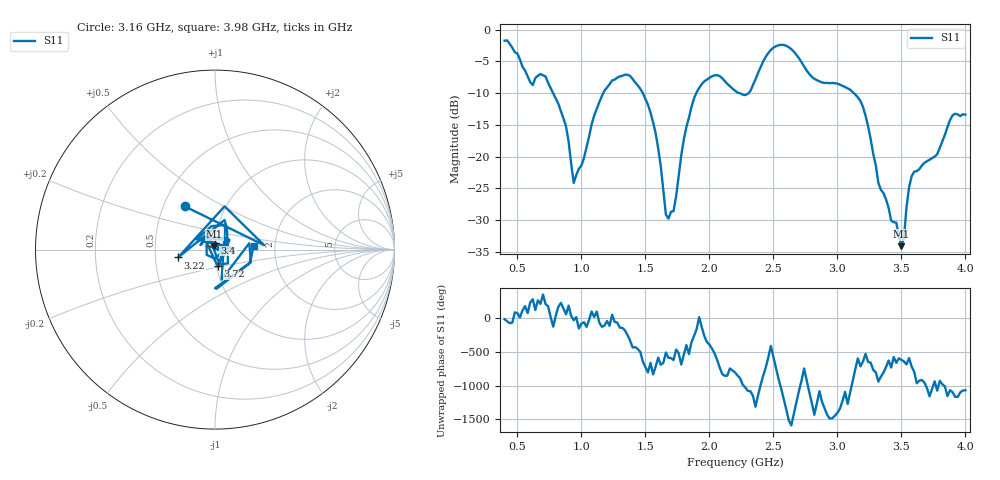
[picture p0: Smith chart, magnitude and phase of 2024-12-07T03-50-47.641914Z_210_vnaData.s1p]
!Created with skrf (http://scikit-rf.org).
# Hz S RI R 50.0
!freq ReS11 ImS11
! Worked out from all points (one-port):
!   181 points, 400 MHz to 4 GHz, reference 50 ohm
!   lowest |S11| = -34.1 dB at 3.5 GHz (marker M1), VSWR 1.04, Z = 49.5 + j1.9 ohm
!   |S11| at or under -10 dB: 779.2 MHz to 1.17 GHz (391.3 MHz wide, 40.1 % of centre); 1.48 GHz to 1.897 GHz (416.9 MHz wide, 24.7 % of centre); 3.129 GHz to end of sweep (the widest 3 of 4)
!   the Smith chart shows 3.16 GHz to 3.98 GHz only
!   S11 on the Smith chart (normalised r, x): 3.16 GHz: 0.64, +0.34; 3.22 GHz: 0.66, -0.06; 3.4 GHz: 0.99, +0.08; 3.72 GHz: 1.01, -0.19; 3.98 GHz: 1.55, +0.06
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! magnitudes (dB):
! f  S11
! 400 MHz  -1.7
! 620 MHz  -8.7
! 720 MHz  -7.4
! 860 MHz  -14.0
! 940 MHz  -24.1
! 1.16 GHz  -10.5
! 1.3 GHz  -7.4
! 1.52 GHz  -11.8
! 1.6 GHz  -18.7
! 1.66 GHz  -29.1
! 1.72 GHz  -28.6
! 1.76 GHz  -23.0
! 1.82 GHz  -15.3
! 1.92 GHz  -9.2
! 2.2 GHz  -9.6
! 2.32 GHz  -9.7
! 2.5 GHz  -2.8
! 2.66 GHz  -3.5
! 3.1 GHz  -9.5
! 3.16 GHz  -10.7
! 3.22 GHz  -13.6
! 3.32 GHz  -24.1
! 3.4 GHz  -28.1
! 3.5 GHz  -34.1
! 3.56 GHz  -24.8
! 3.72 GHz  -20.5
! 3.98 GHz  -13.3
! 4 GHz  -13.4
